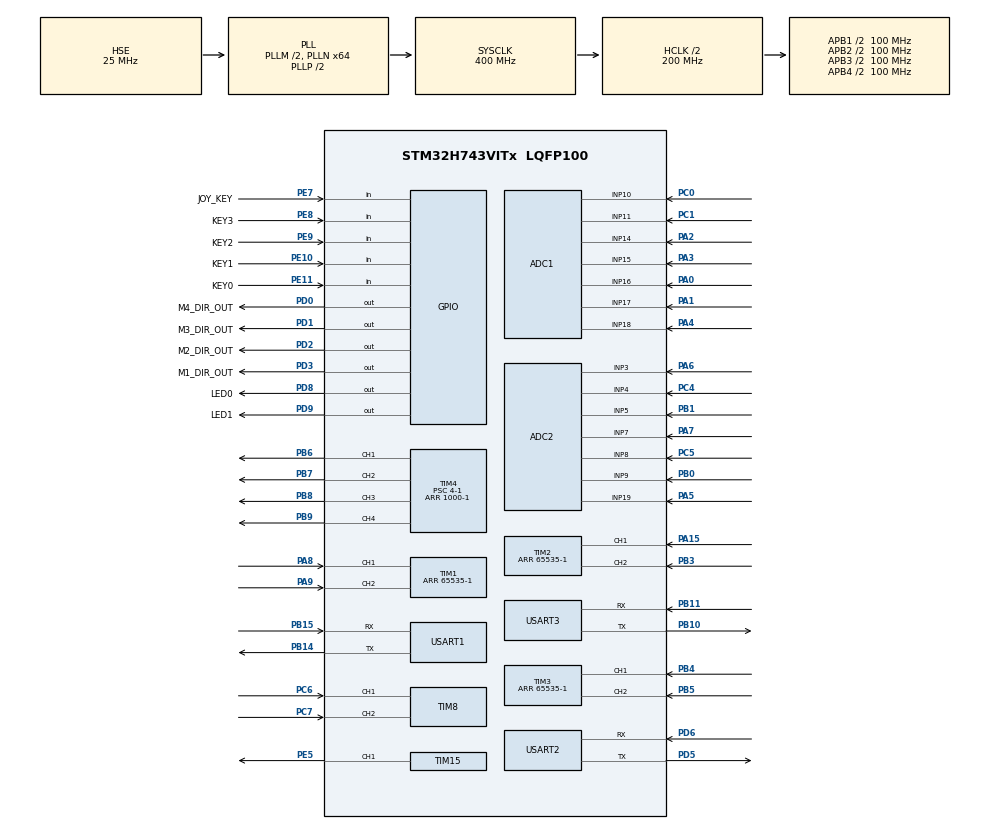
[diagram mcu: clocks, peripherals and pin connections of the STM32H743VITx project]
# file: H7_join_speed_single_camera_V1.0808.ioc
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ADC1.Channel-0\#ChannelRegularConversion=ADC_CHANNEL_10
ADC1.Channel-1\#ChannelRegularConversion=ADC_CHANNEL_11
ADC1.Channel-2\#ChannelRegularConversion=ADC_CHANNEL_16
ADC1.Channel-3\#ChannelRegularConversion=ADC_CHANNEL_17
ADC1.Channel-4\#ChannelRegularConversion=ADC_CHANNEL_14
ADC1.Channel-5\#ChannelRegularConversion=ADC_CHANNEL_15
ADC1.Channel-6\#ChannelRegularConversion=ADC_CHANNEL_18
ADC1.ClockPrescaler=ADC_CLOCK_ASYNC_DIV2
ADC1.ClockPrescalerADC3=ADC_CLOCK_ASYNC_DIV2
ADC1.ContinuousConvMode=ENABLE
ADC1.ConversionDataManagement=ADC_CONVERSIONDATA_DMA_CIRCULAR
ADC1.DMAAccessModeView=ENABLE
ADC1.EOCSelection=ADC_EOC_SINGLE_CONV
ADC1.Mode=ADC_DUALMODE_REGSIMULT
ADC1.NbrOfConversion=7
ADC1.NbrOfConversionFlag=1
ADC1.OffsetNumber-0\#ChannelRegularConversion=ADC_OFFSET_NONE
ADC1.OffsetNumber-1\#ChannelRegularConversion=ADC_OFFSET_NONE
ADC1.OffsetNumber-2\#ChannelRegularConversion=ADC_OFFSET_NONE
ADC1.OffsetNumber-3\#ChannelRegularConversion=ADC_OFFSET_NONE
ADC1.OffsetNumber-4\#ChannelRegularConversion=ADC_OFFSET_NONE
ADC1.OffsetNumber-5\#ChannelRegularConversion=ADC_OFFSET_NONE
ADC1.OffsetNumber-6\#ChannelRegularConversion=ADC_OFFSET_NONE
ADC1.OffsetSignedSaturation-0\#ChannelRegularConversion=DISABLE
ADC1.OffsetSignedSaturation-1\#ChannelRegularConversion=DISABLE
ADC1.OffsetSignedSaturation-2\#ChannelRegularConversion=DISABLE
ADC1.OffsetSignedSaturation-3\#ChannelRegularConversion=DISABLE
ADC1.OffsetSignedSaturation-4\#ChannelRegularConversion=DISABLE
ADC1.OffsetSignedSaturation-5\#ChannelRegularConversion=DISABLE
ADC1.OffsetSignedSaturation-6\#ChannelRegularConversion=DISABLE
ADC1.Overrun=ADC_OVR_DATA_OVERWRITTEN
ADC1.OversamplingMode=ENABLE
ADC1.OversamplingStopReset=ADC_REGOVERSAMPLING_CONTINUED_MODE
ADC1.Rank-0\#ChannelRegularConversion=1
ADC1.Rank-1\#ChannelRegularConversion=2
ADC1.Rank-2\#ChannelRegularConversion=3
ADC1.Rank-3\#ChannelRegularConversion=4
ADC1.Rank-4\#ChannelRegularConversion=5
ADC1.Rank-5\#ChannelRegularConversion=6
ADC1.Rank-6\#ChannelRegularConversion=7
ADC1.Ratio=ADC3_OVERSAMPLING_RATIO_256
ADC1.RightBitShift=ADC_RIGHTBITSHIFT_8
ADC1.SamplingTime-0\#ChannelRegularConversion=ADC_SAMPLETIME_8CYCLES_5
ADC1.SamplingTime-1\#ChannelRegularConversion=ADC_SAMPLETIME_8CYCLES_5
ADC1.SamplingTime-2\#ChannelRegularConversion=ADC_SAMPLETIME_8CYCLES_5
ADC1.SamplingTime-3\#ChannelRegularConversion=ADC_SAMPLETIME_8CYCLES_5
ADC1.SamplingTime-4\#ChannelRegularConversion=ADC_SAMPLETIME_8CYCLES_5
ADC1.SamplingTime-5\#ChannelRegularConversion=ADC_SAMPLETIME_8CYCLES_5
ADC1.SamplingTime-6\#ChannelRegularConversion=ADC_SAMPLETIME_8CYCLES_5
ADC1.master=1
ADC2.Channel-0\#ChannelRegularConversion=ADC_CHANNEL_19
ADC2.Channel-1\#ChannelRegularConversion=ADC_CHANNEL_3
ADC2.Channel-2\#ChannelRegularConversion=ADC_CHANNEL_7
ADC2.Channel-3\#ChannelRegularConversion=ADC_CHANNEL_4
ADC2.Channel-4\#ChannelRegularConversion=ADC_CHANNEL_8
ADC2.Channel-5\#ChannelRegularConversion=ADC_CHANNEL_9
ADC2.Channel-6\#ChannelRegularConversion=ADC_CHANNEL_5
ADC2.ClockPrescaler=ADC_CLOCK_ASYNC_DIV2
ADC2.ClockPrescalerADC3=ADC_CLOCK_ASYNC_DIV2
ADC2.DMAAccessModeView=ENABLE
ADC2.EOCSelection=ADC_EOC_SINGLE_CONV
ADC2.Mode=ADC_DUALMODE_REGSIMULT
ADC2.NbrOfConversion=7
ADC2.NbrOfConversionFlag=1
ADC2.OffsetNumber-0\#ChannelRegularConversion=ADC_OFFSET_NONE
ADC2.OffsetNumber-1\#ChannelRegularConversion=ADC_OFFSET_NONE
ADC2.OffsetNumber-2\#ChannelRegularConversion=ADC_OFFSET_NONE
ADC2.OffsetNumber-3\#ChannelRegularConversion=ADC_OFFSET_NONE
ADC2.OffsetNumber-4\#ChannelRegularConversion=ADC_OFFSET_NONE
ADC2.OffsetNumber-5\#ChannelRegularConversion=ADC_OFFSET_NONE
ADC2.OffsetNumber-6\#ChannelRegularConversion=ADC_OFFSET_NONE
ADC2.OffsetSignedSaturation-0\#ChannelRegularConversion=DISABLE
ADC2.OffsetSignedSaturation-1\#ChannelRegularConversion=DISABLE
ADC2.OffsetSignedSaturation-2\#ChannelRegularConversion=DISABLE
ADC2.OffsetSignedSaturation-3\#ChannelRegularConversion=DISABLE
ADC2.OffsetSignedSaturation-4\#ChannelRegularConversion=DISABLE
ADC2.OffsetSignedSaturation-5\#ChannelRegularConversion=DISABLE
ADC2.OffsetSignedSaturation-6\#ChannelRegularConversion=DISABLE
ADC2.Overrun=ADC_OVR_DATA_OVERWRITTEN
ADC2.OversamplingMode=ENABLE
ADC2.OversamplingStopReset=ADC_REGOVERSAMPLING_CONTINUED_MODE
ADC2.Rank-0\#ChannelRegularConversion=1
ADC2.Rank-1\#ChannelRegularConversion=2
ADC2.Rank-2\#ChannelRegularConversion=3
ADC2.Rank-3\#ChannelRegularConversion=4
ADC2.Rank-4\#ChannelRegularConversion=5
ADC2.Rank-5\#ChannelRegularConversion=6
ADC2.Rank-6\#ChannelRegularConversion=7
ADC2.Ratio=ADC3_OVERSAMPLING_RATIO_256
ADC2.RightBitShift=ADC_RIGHTBITSHIFT_8
ADC2.SamplingTime-0\#ChannelRegularConversion=ADC_SAMPLETIME_8CYCLES_5
ADC2.SamplingTime-1\#ChannelRegularConversion=ADC_SAMPLETIME_8CYCLES_5
ADC2.SamplingTime-2\#ChannelRegularConversion=ADC_SAMPLETIME_8CYCLES_5
ADC2.SamplingTime-3\#ChannelRegularConversion=ADC_SAMPLETIME_8CYCLES_5
ADC2.SamplingTime-4\#ChannelRegularConversion=ADC_SAMPLETIME_8CYCLES_5
ADC2.SamplingTime-5\#ChannelRegularConversion=ADC_SAMPLETIME_8CYCLES_5
ADC2.SamplingTime-6\#ChannelRegularConversion=ADC_SAMPLETIME_8CYCLES_5
ADC2.TriggeredMode=ADC_TRIGGEREDMODE_SINGLE_TRIGGER
ADC3.Channel-1\#ChannelRegularConversion=ADC_CHANNEL_VBAT
ADC3.Channel-2\#ChannelRegularConversion=ADC_CHANNEL_TEMPSENSOR
ADC3.Channel-3\#ChannelRegularConversion=ADC_CHANNEL_VREFINT
ADC3.ClockPrescaler=ADC_CLOCK_ASYNC_DIV2
ADC3.ClockPrescalerADC3=ADC_CLOCK_ASYNC_DIV2
ADC3.ContinuousConvMode=ENABLE
ADC3.ConversionDataManagement=ADC_CONVERSIONDATA_DMA_CIRCULAR
ADC3.EOCSelection=ADC_EOC_SEQ_CONV
ADC3.NbrOfConversion=3
ADC3.NbrOfConversionFlag=1
ADC3.OffsetNumber-1\#ChannelRegularConversion=ADC_OFFSET_NONE
ADC3.OffsetNumber-2\#ChannelRegularConversion=ADC_OFFSET_NONE
ADC3.OffsetNumber-3\#ChannelRegularConversion=ADC_OFFSET_NONE
ADC3.OffsetSignedSaturation-1\#ChannelRegularConversion=DISABLE
ADC3.OffsetSignedSaturation-2\#ChannelRegularConversion=DISABLE
ADC3.OffsetSignedSaturation-3\#ChannelRegularConversion=DISABLE
ADC3.Overrun=ADC_OVR_DATA_OVERWRITTEN
ADC3.OversamplingMode=ENABLE
ADC3.Rank-1\#ChannelRegularConversion=1
ADC3.Rank-2\#ChannelRegularConversion=2
ADC3.Rank-3\#ChannelRegularConversion=3
ADC3.Ratio=ADC3_OVERSAMPLING_RATIO_256
ADC3.RightBitShift=ADC_RIGHTBITSHIFT_8
ADC3.SamplingTime-1\#ChannelRegularConversion=ADC_SAMPLETIME_8CYCLES_5
ADC3.SamplingTime-2\#ChannelRegularConversion=ADC_SAMPLETIME_8CYCLES_5
ADC3.SamplingTime-3\#ChannelRegularConversion=ADC_SAMPLETIME_8CYCLES_5
Bdma.ADC3.0.Direction=DMA_PERIPH_TO_MEMORY
Bdma.ADC3.0.EventEnable=DISABLE
Bdma.ADC3.0.Instance=BDMA_Channel0
Bdma.ADC3.0.MemDataAlignment=DMA_MDATAALIGN_HALFWORD
Bdma.ADC3.0.MemInc=DMA_MINC_ENABLE
Bdma.ADC3.0.Mode=DMA_CIRCULAR
Bdma.ADC3.0.PeriphDataAlignment=DMA_PDATAALIGN_HALFWORD
Bdma.ADC3.0.PeriphInc=DMA_PINC_DISABLE
Bdma.ADC3.0.Polarity=HAL_DMAMUX_REQ_GEN_RISING
Bdma.ADC3.0.Priority=DMA_PRIORITY_LOW
Bdma.ADC3.0.RequestNumber=1
Bdma.ADC3.0.SignalID=NONE
Bdma.ADC3.0.SyncEnable=DISABLE
Bdma.ADC3.0.SyncPolarity=HAL_DMAMUX_SYNC_NO_EVENT
Bdma.ADC3.0.SyncRequestNumber=1
Bdma.ADC3.0.SyncSignalID=NONE
Bdma.Request0=ADC3
Bdma.RequestsNb=1
CORTEX_M7.AccessPermission_S-Cortex_Memory_Protection_Unit_Region1_Settings_S=MPU_REGION_FULL_ACCESS
CORTEX_M7.AccessPermission_Spec=MPU_REGION_FULL_ACCESS
CORTEX_M7.BaseAddress_S-Cortex_Memory_Protection_Unit_Region1_Settings_S=0x38000000
CORTEX_M7.BaseAddress_Spec=0x24000000
CORTEX_M7.CPU_DCache=Disabled
CORTEX_M7.CPU_ICache=Disabled
CORTEX_M7.DisableExec_Spec=MPU_INSTRUCTION_ACCESS_ENABLE
CORTEX_M7.Enable_S-Cortex_Memory_Protection_Unit_Region1_Settings_S=MPU_REGION_ENABLE
CORTEX_M7.IsBufferable_S-Cortex_Memory_Protection_Unit_Region1_Settings_S=MPU_ACCESS_NOT_BUFFERABLE
CORTEX_M7.IsBufferable_Spec=MPU_ACCESS_BUFFERABLE
CORTEX_M7.IsCacheable_S-Cortex_Memory_Protection_Unit_Region1_Settings_S=MPU_ACCESS_CACHEABLE
CORTEX_M7.IsCacheable_Spec=MPU_ACCESS_CACHEABLE
CORTEX_M7.IsShareable_S-Cortex_Memory_Protection_Unit_Region1_Settings_S=MPU_ACCESS_NOT_SHAREABLE
CORTEX_M7.IsShareable_Spec=MPU_ACCESS_NOT_SHAREABLE
CORTEX_M7.Size_S-Cortex_Memory_Protection_Unit_Region1_Settings_S=MPU_REGION_SIZE_64KB
CORTEX_M7.Size_Spec=MPU_REGION_SIZE_512KB
CORTEX_M7.SubRegionDisable_S-Cortex_Memory_Protection_Unit_Region1_Settings_S=0
CORTEX_M7.SubRegionDisable_Spec=0
CORTEX_M7.TypeExtField_Spec=MPU_TEX_LEVEL1
CORTEX_M7.default_mode_Activation=0
Dma.ADC1.0.Direction=DMA_PERIPH_TO_MEMORY
Dma.ADC1.0.EventEnable=DISABLE
Dma.ADC1.0.FIFOMode=DMA_FIFOMODE_DISABLE
Dma.ADC1.0.Instance=DMA1_Stream0
Dma.ADC1.0.MemDataAlignment=DMA_MDATAALIGN_WORD
Dma.ADC1.0.MemInc=DMA_MINC_ENABLE
Dma.ADC1.0.Mode=DMA_CIRCULAR
Dma.ADC1.0.PeriphDataAlignment=DMA_PDATAALIGN_WORD
Dma.ADC1.0.PeriphInc=DMA_PINC_DISABLE
Dma.ADC1.0.Polarity=HAL_DMAMUX_REQ_GEN_RISING
Dma.ADC1.0.Priority=DMA_PRIORITY_LOW
Dma.ADC1.0.RequestNumber=1
Dma.ADC1.0.SignalID=NONE
Dma.ADC1.0.SyncEnable=DISABLE
Dma.ADC1.0.SyncPolarity=HAL_DMAMUX_SYNC_NO_EVENT
Dma.ADC1.0.SyncRequestNumber=1
Dma.ADC1.0.SyncSignalID=NONE
Dma.Request0=ADC1
Dma.Request1=USART1_RX
Dma.Request2=USART1_TX
Dma.Request3=USART2_TX
Dma.Request4=USART2_RX
Dma.Request5=USART3_RX
Dma.Request6=USART3_TX
Dma.USART1_RX.1.Direction=DMA_PERIPH_TO_MEMORY
Dma.USART1_RX.1.EventEnable=DISABLE
Dma.USART1_RX.1.FIFOMode=DMA_FIFOMODE_DISABLE
Dma.USART1_RX.1.Instance=DMA1_Stream1
Dma.USART1_RX.1.MemDataAlignment=DMA_MDATAALIGN_BYTE
Dma.USART1_RX.1.MemInc=DMA_MINC_ENABLE
Dma.USART1_RX.1.Mode=DMA_NORMAL
Dma.USART1_RX.1.PeriphDataAlignment=DMA_PDATAALIGN_BYTE
Dma.USART1_RX.1.PeriphInc=DMA_PINC_DISABLE
Dma.USART1_RX.1.Polarity=HAL_DMAMUX_REQ_GEN_RISING
Dma.USART1_RX.1.Priority=DMA_PRIORITY_LOW
Dma.USART1_RX.1.RequestNumber=1
Dma.USART1_RX.1.SignalID=NONE
Dma.USART1_RX.1.SyncEnable=DISABLE
Dma.USART1_RX.1.SyncPolarity=HAL_DMAMUX_SYNC_NO_EVENT
Dma.USART1_RX.1.SyncRequestNumber=1
Dma.USART1_RX.1.SyncSignalID=NONE
Dma.USART1_TX.2.Direction=DMA_MEMORY_TO_PERIPH
Dma.USART1_TX.2.EventEnable=DISABLE
Dma.USART1_TX.2.FIFOMode=DMA_FIFOMODE_DISABLE
Dma.USART1_TX.2.Instance=DMA1_Stream2
Dma.USART1_TX.2.MemDataAlignment=DMA_MDATAALIGN_BYTE
Dma.USART1_TX.2.MemInc=DMA_MINC_ENABLE
Dma.USART1_TX.2.Mode=DMA_NORMAL
Dma.USART1_TX.2.PeriphDataAlignment=DMA_PDATAALIGN_BYTE
Dma.USART1_TX.2.PeriphInc=DMA_PINC_DISABLE
Dma.USART1_TX.2.Polarity=HAL_DMAMUX_REQ_GEN_RISING
Dma.USART1_TX.2.Priority=DMA_PRIORITY_LOW
Dma.USART1_TX.2.RequestNumber=1
Dma.USART1_TX.2.SignalID=NONE
Dma.USART1_TX.2.SyncEnable=DISABLE
Dma.USART1_TX.2.SyncPolarity=HAL_DMAMUX_SYNC_NO_EVENT
Dma.USART1_TX.2.SyncRequestNumber=1
Dma.USART1_TX.2.SyncSignalID=NONE
Dma.USART2_RX.4.Direction=DMA_PERIPH_TO_MEMORY
Dma.USART2_RX.4.EventEnable=DISABLE
Dma.USART2_RX.4.FIFOMode=DMA_FIFOMODE_DISABLE
Dma.USART2_RX.4.Instance=DMA1_Stream4
Dma.USART2_RX.4.MemDataAlignment=DMA_MDATAALIGN_BYTE
Dma.USART2_RX.4.MemInc=DMA_MINC_ENABLE
Dma.USART2_RX.4.Mode=DMA_NORMAL
Dma.USART2_RX.4.PeriphDataAlignment=DMA_PDATAALIGN_BYTE
Dma.USART2_RX.4.PeriphInc=DMA_PINC_DISABLE
Dma.USART2_RX.4.Polarity=HAL_DMAMUX_REQ_GEN_RISING
Dma.USART2_RX.4.Priority=DMA_PRIORITY_LOW
Dma.USART2_RX.4.RequestNumber=1
Dma.USART2_RX.4.SignalID=NONE
Dma.USART2_RX.4.SyncEnable=DISABLE
Dma.USART2_RX.4.SyncPolarity=HAL_DMAMUX_SYNC_NO_EVENT
Dma.USART2_RX.4.SyncRequestNumber=1
Dma.USART2_RX.4.SyncSignalID=NONE
Dma.USART2_TX.3.Direction=DMA_MEMORY_TO_PERIPH
Dma.USART2_TX.3.EventEnable=DISABLE
Dma.USART2_TX.3.FIFOMode=DMA_FIFOMODE_DISABLE
Dma.USART2_TX.3.Instance=DMA1_Stream3
Dma.USART2_TX.3.MemDataAlignment=DMA_MDATAALIGN_BYTE
Dma.USART2_TX.3.MemInc=DMA_MINC_ENABLE
Dma.USART2_TX.3.Mode=DMA_NORMAL
Dma.USART2_TX.3.PeriphDataAlignment=DMA_PDATAALIGN_BYTE
Dma.USART2_TX.3.PeriphInc=DMA_PINC_DISABLE
Dma.USART2_TX.3.Polarity=HAL_DMAMUX_REQ_GEN_RISING
Dma.USART2_TX.3.Priority=DMA_PRIORITY_LOW
Dma.USART2_TX.3.RequestNumber=1
Dma.USART2_TX.3.SignalID=NONE
Dma.USART2_TX.3.SyncEnable=DISABLE
Dma.USART2_TX.3.SyncPolarity=HAL_DMAMUX_SYNC_NO_EVENT
Dma.USART2_TX.3.SyncRequestNumber=1
Dma.USART2_TX.3.SyncSignalID=NONE
Dma.USART3_RX.5.Direction=DMA_PERIPH_TO_MEMORY
Dma.USART3_RX.5.EventEnable=DISABLE
Dma.USART3_RX.5.FIFOMode=DMA_FIFOMODE_DISABLE
Dma.USART3_RX.5.Instance=DMA1_Stream5
Dma.USART3_RX.5.MemDataAlignment=DMA_MDATAALIGN_BYTE
Dma.USART3_RX.5.MemInc=DMA_MINC_ENABLE
Dma.USART3_RX.5.Mode=DMA_NORMAL
Dma.USART3_RX.5.PeriphDataAlignment=DMA_PDATAALIGN_BYTE
Dma.USART3_RX.5.PeriphInc=DMA_PINC_DISABLE
Dma.USART3_RX.5.Polarity=HAL_DMAMUX_REQ_GEN_RISING
Dma.USART3_RX.5.Priority=DMA_PRIORITY_LOW
Dma.USART3_RX.5.RequestNumber=1
Dma.USART3_RX.5.SignalID=NONE
Dma.USART3_RX.5.SyncEnable=DISABLE
Dma.USART3_RX.5.SyncPolarity=HAL_DMAMUX_SYNC_NO_EVENT
Dma.USART3_RX.5.SyncRequestNumber=1
Dma.USART3_RX.5.SyncSignalID=NONE
Dma.USART3_TX.6.Direction=DMA_MEMORY_TO_PERIPH
Dma.USART3_TX.6.EventEnable=DISABLE
Dma.USART3_TX.6.FIFOMode=DMA_FIFOMODE_DISABLE
Dma.USART3_TX.6.Instance=DMA1_Stream6
Dma.USART3_TX.6.MemDataAlignment=DMA_MDATAALIGN_BYTE
Dma.USART3_TX.6.MemInc=DMA_MINC_ENABLE
Dma.USART3_TX.6.Mode=DMA_NORMAL
Dma.USART3_TX.6.PeriphDataAlignment=DMA_PDATAALIGN_BYTE
Dma.USART3_TX.6.PeriphInc=DMA_PINC_DISABLE
Dma.USART3_TX.6.Polarity=HAL_DMAMUX_REQ_GEN_RISING
Dma.USART3_TX.6.Priority=DMA_PRIORITY_LOW
Dma.USART3_TX.6.RequestNumber=1
Dma.USART3_TX.6.SignalID=NONE
Dma.USART3_TX.6.SyncEnable=DISABLE
Dma.USART3_TX.6.SyncPolarity=HAL_DMAMUX_SYNC_NO_EVENT
Dma.USART3_TX.6.SyncRequestNumber=1
Dma.USART3_TX.6.SyncSignalID=NONE
Mcu.Family=STM32H7
Mcu.Name=STM32H743VITx
Mcu.Package=LQFP100
NVIC.BDMA_Channel0_IRQn=true\:1\:0\:true\:false\:true\:false\:true\:true
NVIC.DMA1_Stream0_IRQn=true\:0\:0\:true\:false\:true\:false\:true\:true
NVIC.DMA1_Stream1_IRQn=true\:1\:0\:true\:false\:true\:false\:true\:true
NVIC.DMA1_Stream2_IRQn=true\:1\:0\:true\:false\:true\:false\:true\:true
NVIC.DMA1_Stream3_IRQn=true\:1\:0\:true\:false\:true\:false\:true\:true
NVIC.DMA1_Stream4_IRQn=true\:1\:0\:true\:false\:true\:false\:true\:true
NVIC.DMA1_Stream5_IRQn=true\:1\:0\:true\:false\:true\:false\:true\:true
NVIC.DMA1_Stream6_IRQn=true\:1\:0\:true\:false\:true\:false\:true\:true
NVIC.PriorityGroup=NVIC_PRIORITYGROUP_4
NVIC.TIM1_UP_IRQn=true\:0\:0\:false\:false\:true\:true\:true\:true
NVIC.TIM2_IRQn=true\:0\:0\:false\:false\:true\:true\:true\:true
NVIC.TIM3_IRQn=true\:0\:0\:false\:false\:true\:true\:true\:true
NVIC.TIM6_DAC_IRQn=true\:3\:0\:true\:false\:true\:true\:true\:true
NVIC.TIM7_IRQn=true\:4\:0\:true\:false\:true\:true\:true\:true
NVIC.TIM8_UP_TIM13_IRQn=true\:0\:0\:false\:false\:true\:true\:true\:true
NVIC.USART1_IRQn=true\:1\:0\:true\:false\:true\:true\:true\:true
NVIC.USART2_IRQn=true\:1\:0\:true\:false\:true\:true\:true\:true
NVIC.USART3_IRQn=true\:1\:0\:true\:false\:true\:true\:true\:true
PA0.Mode=IN16-Single-Ended
PA0.Signal=ADC1_INP16
PA1.Mode=IN17-Single-Ended
PA1.Signal=ADC1_INP17
PA13\ (JTMS/SWDIO).Mode=Serial_Wire
PA13\ (JTMS/SWDIO).Signal=DEBUG_JTMS-SWDIO
PA14\ (JTCK/SWCLK).Mode=Serial_Wire
PA14\ (JTCK/SWCLK).Signal=DEBUG_JTCK-SWCLK
PA15\ (JTDI).Signal=S_TIM2_CH1_ETR
PA2.Signal=ADCx_INP14
PA3.Signal=ADCx_INP15
PA4.Signal=ADCx_INP18
PA5.Signal=ADCx_INP19
PA6.Signal=ADCx_INP3
PA7.Signal=ADCx_INP7
PA8.Signal=S_TIM1_CH1
PA9.Signal=S_TIM1_CH2
PB0.Signal=ADCx_INP9
PB1.Signal=ADCx_INP5
PB10.Mode=Asynchronous
PB10.Signal=USART3_TX
PB11.Mode=Asynchronous
PB11.Signal=USART3_RX
PB14.Mode=Asynchronous
PB14.Signal=USART1_TX
PB15.Mode=Asynchronous
PB15.Signal=USART1_RX
PB3\ (JTDO/TRACESWO).Signal=S_TIM2_CH2
PB4\ (NJTRST).Signal=S_TIM3_CH1
PB5.Signal=S_TIM3_CH2
PB6.Signal=S_TIM4_CH1
PB7.Signal=S_TIM4_CH2
PB8.Signal=S_TIM4_CH3
PB9.Signal=S_TIM4_CH4
PC0.Signal=ADCx_INP10
PC1.Signal=ADCx_INP11
PC4.Signal=ADCx_INP4
PC5.Signal=ADCx_INP8
PC6.Signal=S_TIM8_CH1
PC7.Signal=S_TIM8_CH2
PD0.GPIO_Label=M4_DIR_OUT
PD0.Signal=GPIO_Output
PD1.GPIO_Label=M3_DIR_OUT
PD1.Signal=GPIO_Output
PD2.GPIO_Label=M2_DIR_OUT
PD2.Signal=GPIO_Output
PD3.GPIO_Label=M1_DIR_OUT
PD3.Signal=GPIO_Output
PD5.Mode=Asynchronous
PD5.Signal=USART2_TX
PD6.Mode=Asynchronous
PD6.Signal=USART2_RX
PD8.GPIO_Label=LED0
PD8.Signal=GPIO_Output
PD9.GPIO_Label=LED1
PD9.Signal=GPIO_Output
PE10.GPIO_Label=KEY1
PE10.Signal=GPIO_Input
PE11.GPIO_Label=KEY0
PE11.Signal=GPIO_Input
PE5.Signal=S_TIM15_CH1
PE7.GPIO_Label=JOY_KEY
PE7.GPIO_PuPd=GPIO_PULLUP
PE7.Signal=GPIO_Input
PE8.GPIO_Label=KEY3
PE8.Signal=GPIO_Input
PE9.GPIO_Label=KEY2
PE9.Signal=GPIO_Input
PH0-OSC_IN\ (PH0).Mode=HSE-External-Oscillator
PH0-OSC_IN\ (PH0).Signal=RCC_OSC_IN
PH1-OSC_OUT\ (PH1).Mode=HSE-External-Oscillator
PH1-OSC_OUT\ (PH1).Signal=RCC_OSC_OUT
ProjectManager.HeapSize=0x600
ProjectManager.StackSize=0x1000
ProjectManager.TargetToolchain=STM32CubeIDE
RCC.ADCFreq_Value=72000000
RCC.APB1Freq_Value=100000000
RCC.APB2Freq_Value=100000000
RCC.APB3Freq_Value=100000000
RCC.APB4Freq_Value=100000000
RCC.CortexFreq_Value=400000000
RCC.D1PPRE=RCC_APB3_DIV2
RCC.D2PPRE1=RCC_APB1_DIV2
RCC.D2PPRE2=RCC_APB2_DIV2
RCC.D3PPRE=RCC_APB4_DIV2
RCC.DIVM1=2
RCC.DIVM2=5
RCC.DIVN1=64
RCC.DIVN2=72
RCC.DIVP2=5
RCC.HCLKFreq_Value=200000000
RCC.HPRE=RCC_HCLK_DIV2
RCC.PLL1_VCI_Range-AdvancedSettings=RCC_PLL1VCIRANGE_0
RCC.PLL2FRACN=0
RCC.PLL3FRACN=0
RCC.PLL3_VCI_Range-AdvancedSettings=RCC_PLL3VCIRANGE_0
RCC.PLLFRACN=0
RCC.PLLSourceVirtual=RCC_PLLSOURCE_HSE
RCC.SYSCLKFreq_VALUE=400000000
RCC.SYSCLKSource=RCC_SYSCLKSOURCE_PLLCLK
RCC.USBFreq_Value=400000000
SH.ADCx_INP10.0=ADC1_INP10,IN10-Single-Ended
SH.ADCx_INP11.0=ADC1_INP11,IN11-Single-Ended
SH.ADCx_INP14.0=ADC1_INP14,IN14-Single-Ended
SH.ADCx_INP15.0=ADC1_INP15,IN15-Single-Ended
SH.ADCx_INP18.0=ADC1_INP18,IN18-Single-Ended
SH.ADCx_INP19.0=ADC2_INP19,IN19-Single-Ended
SH.ADCx_INP3.0=ADC2_INP3,IN3-Single-Ended
SH.ADCx_INP4.0=ADC2_INP4,IN4-Single-Ended
SH.ADCx_INP5.0=ADC2_INP5,IN5-Single-Ended
SH.ADCx_INP7.0=ADC2_INP7,IN7-Single-Ended
SH.ADCx_INP8.0=ADC2_INP8,IN8-Single-Ended
SH.ADCx_INP9.0=ADC2_INP9,IN9-Single-Ended
SH.S_TIM15_CH1.0=TIM15_CH1,PWM Generation1 CH1
SH.S_TIM1_CH1.0=TIM1_CH1,Encoder_Interface
SH.S_TIM1_CH2.0=TIM1_CH2,Encoder_Interface
SH.S_TIM2_CH1_ETR.0=TIM2_CH1,Encoder_Interface
SH.S_TIM2_CH2.0=TIM2_CH2,Encoder_Interface
SH.S_TIM3_CH1.0=TIM3_CH1,Encoder_Interface
SH.S_TIM3_CH2.0=TIM3_CH2,Encoder_Interface
SH.S_TIM4_CH1.0=TIM4_CH1,PWM Generation1 CH1
SH.S_TIM4_CH2.0=TIM4_CH2,PWM Generation2 CH2
SH.S_TIM4_CH3.0=TIM4_CH3,PWM Generation3 CH3
SH.S_TIM4_CH4.0=TIM4_CH4,PWM Generation4 CH4
SH.S_TIM8_CH1.0=TIM8_CH1,Encoder_Interface
SH.S_TIM8_CH2.0=TIM8_CH2,Encoder_Interface
TIM1.AutoReloadPreload=TIM_AUTORELOAD_PRELOAD_DISABLE
TIM1.EncoderMode=TIM_ENCODERMODE_TI12
TIM1.Period=65535-1
TIM15.AutoReloadPreload=TIM_AUTORELOAD_PRELOAD_ENABLE
TIM15.Channel-PWM\ Generation1\ CH1=TIM_CHANNEL_1
TIM15.Period=1000-1
TIM15.Prescaler=4-1
TIM2.EncoderMode=TIM_ENCODERMODE_TI12
TIM2.Period=65535-1
TIM3.EncoderMode=TIM_ENCODERMODE_TI12
TIM3.Period=65535-1
TIM4.AutoReloadPreload=TIM_AUTORELOAD_PRELOAD_ENABLE
TIM4.Channel-PWM\ Generation1\ CH1=TIM_CHANNEL_1
TIM4.Channel-PWM\ Generation2\ CH2=TIM_CHANNEL_2
TIM4.Channel-PWM\ Generation3\ CH3=TIM_CHANNEL_3
TIM4.Channel-PWM\ Generation4\ CH4=TIM_CHANNEL_4
TIM4.Period=1000-1
TIM4.Prescaler=4-1
TIM6.AutoReloadPreload=TIM_AUTORELOAD_PRELOAD_ENABLE
TIM6.Period=100-1
TIM6.Prescaler=200-1
TIM7.AutoReloadPreload=TIM_AUTORELOAD_PRELOAD_ENABLE
TIM7.Period=1000-1
TIM7.Prescaler=200-1
TIM8.EncoderMode=TIM_ENCODERMODE_TI12
USART1.VirtualMode-Asynchronous=VM_ASYNC
USART2.VirtualMode-Asynchronous=VM_ASYNC
USART3.VirtualMode-Asynchronous=VM_ASYNC
VP_ADC3_TempSens_Input.Mode=IN-TempSens
VP_ADC3_Vbat_Input.Mode=IN-Vbat
VP_ADC3_Vref_Input.Mode=IN-Vrefint
VP_TIM6_VS_ClockSourceINT.Mode=Enable_Timer
VP_TIM7_VS_ClockSourceINT.Mode=Enable_Timer
board=custom

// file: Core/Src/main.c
/* USER CODE BEGIN Header */
/**
  ******************************************************************************
  * @file           : main.c
  * @brief          : Main program body
  ******************************************************************************
  * @attention
  *
  * Copyright (c) 2024 STMicroelectronics.
  * All rights reserved.
  *
  * This software is licensed under terms that can be found in the LICENSE file
  * in the root directory of this software component.
  * If no LICENSE file comes with this software, it is provided AS-IS.
  *
  ******************************************************************************
  */
/* USER CODE END Header */
#include "main.h"
#include "adc.h"
#include "bdma.h"
#include "dma.h"
#include "tim.h"
#include "usart.h"
#include "gpio.h"

/* USER CODE BEGIN Includes */
#include <stdlib.h>
#include "printf.h"
#include "ad.h"
#include "DcMotors.h"
#include "joy.h"
#include "vofa.h"
/* USER CODE END Includes */

void SystemClock_Config(void);
void PeriphCommonClock_Config(void);

/* USER CODE BEGIN 0 */

void HAL_TIM_PeriodElapsedCallback(TIM_HandleTypeDef *htim)
{
    static uint32_t htim6_i=0;
    static uint32_t htim7_i=0;

	if(htim==(&htim1))
	{
	 /* 判断当前计数器计数方向 */
		 __HAL_TIM_SET_COUNTER(&htim1,enc_default);
	 if(__HAL_TIM_IS_TIM_COUNTING_DOWN(&htim1)) M1.overflow--;
	 else M1.overflow++;

	}

	else if(htim==(&htim2))
	{
	 /* 判断当前计数器计数方向 */
		__HAL_TIM_SET_COUNTER(&htim2,enc_default);
	 if(__HAL_TIM_IS_TIM_COUNTING_DOWN(&htim2)) M2.overflow--;
	 else M2.overflow++;

	}

	else if(htim==(&htim3))
	{
	 /* 判断当前计数器计数方向 */
		__HAL_TIM_SET_COUNTER(&htim3,enc_default);
	 if(__HAL_TIM_IS_TIM_COUNTING_DOWN(&htim3)) M3.overflow--;
	 else M3.overflow++;

	}

	else if(htim==(&htim8))
	{
	 /* 判断当前计数器计数方向 */
		__HAL_TIM_SET_COUNTER(&htim8,enc_default);
	 if(__HAL_TIM_IS_TIM_COUNTING_DOWN(&htim8)) M4.overflow--;
	 else M4.overflow++;

	}

	else if(htim->Instance==htim6.Instance)//0.1ms
	{

		M1.enc_now_total = (int64_t)M1.overflow * overflow_enc + M1_enc-enc_default;  //总编�?
		M2.enc_now_total = (int64_t)M2.overflow * overflow_enc + M2_enc-enc_default;
		//M3.enc_now_total = (int64_t)M3.overflow * overflow_enc + M3_enc-enc_default;
		//M4.enc_now_total = (int64_t)M4.overflow * overflow_enc + M4_enc-enc_default;

		if(htim6_i%500 == 0)                                 // 50ms
		{

//			if(abs((M1.enc_now_total - M1.enc_now_total_last))>1000)
//			{
//
//				if((M1.enc_now_total - M1.enc_now_total_last)>1000)M1.overflow--;
//				else M1.overflow++;
//
//				M1.enc_now_total = (int64_t)M1.overflow * overflow_enc + M1_enc;  //总编�?
//			}
//
//			if(abs((M2.enc_now_total - M2.enc_now_total_last))>1000)
//			{
//				if((M2.enc_now_total - M2.enc_now_total_last)>1000)M2.overflow--;
//				else M2.overflow++;
//
//				M2.enc_now_total = (int64_t)M2.overflow * overflow_enc + M2_enc;  //总编�?
//			}
//
//			if(abs((M3.enc_now_total - M3.enc_now_total_last))>1000)
//			{
//				if((M3.enc_now_total - M3.enc_now_total_last)>1000)M3.overflow--;
//				else M3.overflow++;
//
//				M3.enc_now_total = (int64_t)M3.overflow * overflow_enc + M3_enc;  //总编�?
//			}
//
//			if(abs((M4.enc_now_total - M4.enc_now_total_last))>1000)
//			{
//				if((M4.enc_now_total - M4.enc_now_total_last)>1000)M4.overflow--;
//				else M4.overflow++;
//
//				M4.enc_now_total = (int64_t)M4.overflow * overflow_enc + M4_enc;  //总编�?
//			}

			M1.enc_now_speed  = (M1.enc_now_total - M1.enc_now_total_last);   //转�??
			M2.enc_now_speed  = (M2.enc_now_total - M2.enc_now_total_last);
			M3.enc_now_speed  = (M3.enc_now_total - M3.enc_now_total_last);
			M4.enc_now_speed  = (M4.enc_now_total - M4.enc_now_total_last);

			M1.rpm = M1_rpm;
			M2.rpm = M2_rpm;
			M3.rpm = M3_rpm;
			M4.rpm = M4_rpm;

			M1.enc_now_total_last = M1.enc_now_total;   //上次编码记录
			M2.enc_now_total_last = M2.enc_now_total;
			M3.enc_now_total_last = M3.enc_now_total;
			M4.enc_now_total_last = M4.enc_now_total;

			motor_run_speed_50ms(&M1);       //速度�?
			motor_run_speed_50ms(&M2);
			//motor_run_speed_50ms(&M3);
			//motor_run_speed_50ms(&M4);

		}

		if(htim6_i %100 == 0)     // 100*0.1ms
		{
		}

		if(htim6_i++>=50000-1)htim6_i=0;
	}
	else if(htim->Instance==htim7.Instance)//1ms
	{

		M1.current = M1.current*0.9+M1_current*0.1;      //电流计算
		M2.current = M2.current*0.9+M2_current*0.1;
		M3.current = M3.current*0.9+M3_current*0.1;
		M4.current = M4.current*0.9+M4_current*0.1;

		joy_xy(JOY_X,JOY_Y);

		motor_run();

		if(!motor_homeing_n)
		{

//			current_errror();
//			enc_errror();
		}

		motor_run_position();                           //位置环电机控�?

		if(distal_rotating_en && M2.busy == 0)distal_rotating_en = 0;
		else if(distal_bending_en && M1.busy == 0)distal_bending_en = 0;
		if(labs(labs(M1.enc_now_total - M1.enc_Target) - labs(M2.enc_now_total - M2.enc_Target)/4)<10)distal_bending_en = 0;

		//if(proximal_rotating_en && M3.busy == 0)proximal_rotating_en = 0;
		//else if(proximal_bending_en&&M4.busy == 0)proximal_bending_en = 0;
		//if(labs(labs(M4.enc_now_total - M4.enc_Target) - labs(M3.enc_now_total - M3.enc_Target)/4)<10)proximal_bending_en = 0;

		 if(M4.mode == 0)                                            //堵转�?�?
		 {
			if(M4.state == 1 && M4.rpm_Target>0)M4.state = 0;
			//	 else  if(M4.state == 2 && M4.rpm_Target<0)M4.state = 0;

			else if(M4.current>=150&&M4.rpm_Target<0)M4.state = 1;
			//else if(M4.current>=85&&M4.rpm_Target>0)M4.state = 2;

			else if(M4.state == 1 && M4.rpm_Target<0) M4.rpm_Target = 0;
			//	else if(M4.state == 2 && M4.rpm_Target>0) M4.rpm_Target = 0
		 }
		 if(M1.mode == 0)
		 {
			if(M1.state == 1 && M1.rpm_Target>0)M1.state = 0;
			//	 else  if(M1.state == 2 && M1.rpm_Target<0)M1.state = 0;

			else if(M1.current>150&&M1.rpm_Target>0)M1.state = 1;
			//else if(M1.current>=85&&M1.rpm_Target>0)M1.state = 2;

			else if(M1.state == 1 && M1.rpm_Target>0) M1.rpm_Target = 0;
			//	else if(M1.state == 2 && M1.rpm_Target>0) M1.rpm_Target = 0;

		 }

		/*if(htim7_i %25 == 0 && !motor_homeing_n)     // 500*1ms
		{

			if(Inspire_flag == 0)
			{
				whole_dis = interval_Inspire_Motor-interval_Inspire_Motor*Ins/AD_max;                     //因时电机

				if(whole_dis>interval_Inspire_Motor)whole_dis=interval_Inspire_Motor;
				else if(whole_dis<0)whole_dis=0;

				if(Inspire_buf!=whole_dis)
				{
					Inspire_buf = whole_dis;
				}

			}
			UART_DRV_DMA_SendCmd(0x01,CMD_SEEKPOS_SERVO,Min_Inspire_Motor+Inspire_buf);
		}暂时不用电推杠*/

		if(htim7_i %printf_cnt_time == 0)     // 500*1ms
		{
			if(printf_cnt<=10)printf_cnt++;                       //打印时间
		}
		if(htim7_i %1000 == 0)
		{
			printf_time++;
		}
		if(htim7_i%100 == 0)
		{

			if( M1.error || M2.error )   // 只判断保留的两个电机
			{
			    HAL_GPIO_WritePin(LED0_GPIO_Port, LED0_Pin,GPIO_PIN_RESET);
			}
			else
			{
			    HAL_GPIO_TogglePin(LED0_GPIO_Port, LED0_Pin);
			    HAL_GPIO_TogglePin(LED1_GPIO_Port, LED1_Pin);
			}
		}

		if(htim7_i++>=1000-1)htim7_i=0;
	}
}

/* USER CODE END 0 */

int main(void)
{

  /* USER CODE BEGIN 1 */
 uint8_t i;
  /* USER CODE END 1 */

  /* MCU Configuration--------------------------------------------------------*/

  /* Reset of all peripherals, Initializes the Flash interface and the Systick. */
  HAL_Init();

  /* Configure the system clock */
  SystemClock_Config();

/* Configure the peripherals common clocks */
  PeriphCommonClock_Config();

  /* Initialize all configured peripherals */
  MX_GPIO_Init();
  MX_DMA_Init();
  MX_BDMA_Init();
  MX_ADC2_Init();
  MX_ADC1_Init();
  MX_ADC3_Init();
  MX_TIM1_Init();
  MX_TIM2_Init();
  MX_TIM3_Init();
  MX_TIM4_Init();
  MX_TIM6_Init();
  MX_TIM7_Init();
  MX_TIM8_Init();
  MX_TIM15_Init();
  MX_USART1_UART_Init();
  MX_USART2_UART_Init();
  MX_USART3_UART_Init();
  /* USER CODE BEGIN 2 */
  printf_init();

  adc_init();
  motor_init();

	__HAL_TIM_CLEAR_IT(&htim6,TIM_IT_UPDATE);//清除中断标志�?
	__HAL_TIM_CLEAR_IT(&htim7,TIM_IT_UPDATE);//清除中断标志�?

	HAL_TIM_Base_Start_IT(&htim7);
	HAL_TIM_Base_Start_IT(&htim6);

	motor_homeing_n = 0;

	/*禁用归零系统*/

  /* USER CODE END 2 */

  /* Infinite loop */
  /* USER CODE BEGIN WHILE */
  while (1)
  {

	  if(printf_cnt /*&& !motor_homeing_n*/)
	  {
		  printf_cnt--;
		  printf_mode =1;
		//  printf1("time    %d  ----------------\r\n",printf_time);
		  switch(printf_mode)
		  {
		  case 0:

	  		  printf1("JOY: %d, %d, %d, %f,%d\r\n",joy_x,joy_y,joy_r,joy_a,joy_en);
	  		  printf1("joy_key  %d   %d    \r\n",joy_key3_button,joy_button);
			  break;
		  case 1:
			  printf1("%f %f  \r\n",distal_bending_circle,distal_bending_circle_now);
			  printf1("%f %f  \r\n",proximal_bending_circle,proximal_bending_circle_now);
			  printf1("%d %d \r\n",distal_status,proximal_status);
			  break;
		  case 2:
				printf1("current:%f,%f,%f,%f \n",M1.current,M2.current,M3.current,M4.current);
//				printf1("error:%d,%d,%d,%d \n",M1.error,M2.error,M3.error,M4.error);
//				printf1("PWM:%f,%f,%f,%f \n",M1.PWM,M2.PWM,M3.PWM,M4.PWM);
//				printf1("rpm_Target:%f,%f,%f,%f \n",M1.rpm_Target,M2.rpm_Target,M3.rpm_Target,M4.rpm_Target);

			  break;
		  case 3:
			   printf1("distal_rotating_angle %f ",distal_rotating_angle);
			   printf1("proximal_rotating_angle %f ",proximal_rotating_angle);
			   printf1("joy_speed %f ", 1-0.7*JOY_S/AD_max);
			   printf1("rpm_max_Target %f ", M1.rpm_max_Target);
		  case 4:
	//		  printf1("%d %d %d %d \r\n",M1.enc_now_speed,M2.enc_now_speed,M3.enc_now_speed,M4.enc_now_speed);

//			  printf1("%8lld ,%d,%8lld ,%d\r\n",M1.enc_now_total,M1_enc,M2.enc_now_total,M2_enc);
//			  printf1("M:%8lld , %8lld , %8lld , %8lld , %8lld , %8lld , %8lld , %8lld\r\n",M1.enc_Target,M1.enc_now_total,M2.enc_Target,M2.enc_now_total,M3.enc_now_total_last,M3.enc_now_total,M4.enc_now_total_last,M4.enc_now_total);
//			  printf1("M1:%lld, M2:%lld, M3:%lld, M4:%lld\r\n",M1.enc_Target,M2.enc_Target,M3.enc_Target,M4.enc_Target);
//			  printf1("proximal bending_angle:%f, circle:%f  angle:%f\r\n",proximal_bending_angle_now,proximal_bending_circle_now,proximal_rotating_angle);
			  printf1("distal bending_angle:%f, circle:%f angle:%f \r\n",distal_bending_angle_now,distal_bending_circle_now,distal_rotating_angle);
//			  printf1("\r\n");
			  break;
		  case 5:
				//		  printf1("AD: %d %d %d %d",JOY_S,JOY_S2,button_home_time,button_home_flag);
					  printf1("AD: ");

//							  printf1("%d,",proximal_rotating_AD);
			  for(i=0;i<7*2;i++)
			  {
				  printf1("%d,",*ADC1_data[i]);;

			  }

//			  printf1("%d,",Ins);
//			  printf1("%d,",Min_Inspire_Motor+Inspire_buf);
//			  printf1("%d",whole_dis);

		//	  printf1("%f",distal_bending_circle);
			  printf1("\r\n");
			  break;
		  case 6:
			  printf1("%f,%f\r\n",-distal_bending_angle_now,-distal_rotating_angle);
			  break;
		  case 7:
			  printf1("distal_homeing_n = %d \r\n",distal_homeing_n);
			  break;

		  }
		//  printf1("  ----------------\r\n");
	  }

    /* USER CODE END WHILE */

  }
}

void SystemClock_Config(void)
{
  RCC_OscInitTypeDef RCC_OscInitStruct = {0};
  RCC_ClkInitTypeDef RCC_ClkInitStruct = {0};

  /** Supply configuration update enable
  */
  HAL_PWREx_ConfigSupply(PWR_LDO_SUPPLY);

  /** Configure the main internal regulator output voltage
  */
  __HAL_PWR_VOLTAGESCALING_CONFIG(PWR_REGULATOR_VOLTAGE_SCALE1);

  while(!__HAL_PWR_GET_FLAG(PWR_FLAG_VOSRDY)) {}

  /** Initializes the RCC Oscillators according to the specified parameters
  * in the RCC_OscInitTypeDef structure.
  */
  RCC_OscInitStruct.OscillatorType = RCC_OSCILLATORTYPE_HSE;
  RCC_OscInitStruct.HSEState = RCC_HSE_ON;
  RCC_OscInitStruct.PLL.PLLState = RCC_PLL_ON;
  RCC_OscInitStruct.PLL.PLLSource = RCC_PLLSOURCE_HSE;
  RCC_OscInitStruct.PLL.PLLM = 2;
  RCC_OscInitStruct.PLL.PLLN = 64;
  RCC_OscInitStruct.PLL.PLLP = 2;
  RCC_OscInitStruct.PLL.PLLQ = 2;
  RCC_OscInitStruct.PLL.PLLR = 2;
  RCC_OscInitStruct.PLL.PLLRGE = RCC_PLL1VCIRANGE_3;
  RCC_OscInitStruct.PLL.PLLVCOSEL = RCC_PLL1VCOWIDE;
  RCC_OscInitStruct.PLL.PLLFRACN = 0;
  if (HAL_RCC_OscConfig(&RCC_OscInitStruct) != HAL_OK)
  {
    Error_Handler();
  }

  /** Initializes the CPU, AHB and APB buses clocks
  */
  RCC_ClkInitStruct.ClockType = RCC_CLOCKTYPE_HCLK|RCC_CLOCKTYPE_SYSCLK
                              |RCC_CLOCKTYPE_PCLK1|RCC_CLOCKTYPE_PCLK2
                              |RCC_CLOCKTYPE_D3PCLK1|RCC_CLOCKTYPE_D1PCLK1;
  RCC_ClkInitStruct.SYSCLKSource = RCC_SYSCLKSOURCE_PLLCLK;
  RCC_ClkInitStruct.SYSCLKDivider = RCC_SYSCLK_DIV1;
  RCC_ClkInitStruct.AHBCLKDivider = RCC_HCLK_DIV2;
  RCC_ClkInitStruct.APB3CLKDivider = RCC_APB3_DIV2;
  RCC_ClkInitStruct.APB1CLKDivider = RCC_APB1_DIV2;
  RCC_ClkInitStruct.APB2CLKDivider = RCC_APB2_DIV2;
  RCC_ClkInitStruct.APB4CLKDivider = RCC_APB4_DIV2;

  if (HAL_RCC_ClockConfig(&RCC_ClkInitStruct, FLASH_LATENCY_2) != HAL_OK)
  {
    Error_Handler();
  }
}

void PeriphCommonClock_Config(void)
{
  RCC_PeriphCLKInitTypeDef PeriphClkInitStruct = {0};

  /** Initializes the peripherals clock
  */
  PeriphClkInitStruct.PeriphClockSelection = RCC_PERIPHCLK_ADC;
  PeriphClkInitStruct.PLL2.PLL2M = 5;
  PeriphClkInitStruct.PLL2.PLL2N = 72;
  PeriphClkInitStruct.PLL2.PLL2P = 5;
  PeriphClkInitStruct.PLL2.PLL2Q = 2;
  PeriphClkInitStruct.PLL2.PLL2R = 2;
  PeriphClkInitStruct.PLL2.PLL2RGE = RCC_PLL2VCIRANGE_2;
  PeriphClkInitStruct.PLL2.PLL2VCOSEL = RCC_PLL2VCOWIDE;
  PeriphClkInitStruct.PLL2.PLL2FRACN = 0;
  PeriphClkInitStruct.AdcClockSelection = RCC_ADCCLKSOURCE_PLL2;
  if (HAL_RCCEx_PeriphCLKConfig(&PeriphClkInitStruct) != HAL_OK)
  {
    Error_Handler();
  }
}

void Error_Handler(void)
{
  __disable_irq();
  while (1)
  {
  }
}
